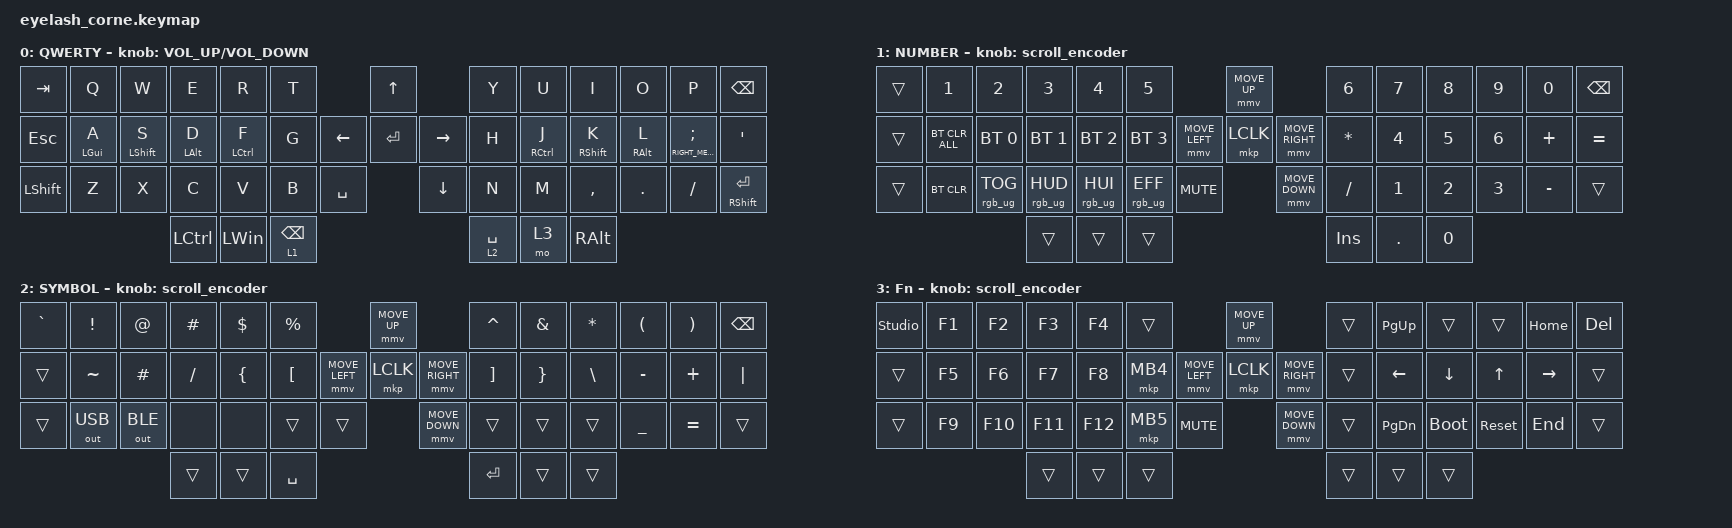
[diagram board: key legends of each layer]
#define ZMK_POINTING_DEFAULT_MOVE_VAL 1200  // 600
#define ZMK_POINTING_DEFAULT_SCRL_VAL 25   // 10

#include <input/processors.dtsi>
#include <zephyr/dt-bindings/input/input-event-codes.h>
#include <behaviors.dtsi>
#include <dt-bindings/zmk/bt.h>
#include <dt-bindings/zmk/keys.h>
#include <dt-bindings/zmk/outputs.h>
#include <dt-bindings/zmk/pointing.h>
#include <dt-bindings/zmk/rgb.h>

&mmv_input_listener { input-processors = <&zip_xy_scaler 2 1>; };

&msc_input_listener { input-processors = <&zip_scroll_scaler 2 1>; };

&msc {
    acceleration-exponent = <1>;      // 0
    time-to-max-speed-ms = <100>;       // 300
    delay-ms = <0>;                   // 0
};

&mmv {
    time-to-max-speed-ms = <500>;
    acceleration-exponent = <1>;
    trigger-period-ms = <16>;
};

/ {
    behaviors {
        td0: td0 {
            compatible = "zmk,behavior-tap-dance";
            display-name = "Shift/Caps Lock Tap Dance";
            #binding-cells = <0>;
            bindings = <&kp LEFT_SHIFT>, <&kp CAPS>;
        };
    };

    rgb_encoder: rgb_encoder {
        compatible = "zmk,behavior-sensor-rotate";
        #sensor-binding-cells = <0>;
        bindings = <&rgb_ug RGB_BRI>, <&rgb_ug RGB_BRD>;
    };

    scroll_encoder: scroll_encoder {
        compatible = "zmk,behavior-sensor-rotate";
        #sensor-binding-cells = <0>;
        bindings = <&msc SCRL_DOWN>, <&msc SCRL_UP>;

        tap-ms = <100>;
    };

    keymap {
        compatible = "zmk,keymap";

        default_layer {
            display-name = "QWERTY";
            bindings = <
&kp TAB     &kp Q           &kp W             &kp E       &kp R               &kp T                                   &kp UP                &kp Y        &kp U                &kp I        &kp O       &kp P                &kp BSPC
&kp ESCAPE  &mt LEFT_GUI A  &mt LEFT_SHIFT S  &mt LALT D  &mt LEFT_CONTROL F  &kp G                         &kp LEFT  &kp ENTER  &kp RIGHT  &kp H        &mt RIGHT_CONTROL J  &mt RSHFT K  &mt RALT L  &mt RIGHT_META SEMI  &kp SQT
&kp LSHIFT  &kp Z           &kp X             &kp C       &kp V               &kp B            &kp SPACE              &kp DOWN              &kp N        &kp M                &kp COMMA    &kp DOT     &kp FSLH             &mt RIGHT_SHIFT ENTER
                                              &kp LCTRL   &kp LWIN            &lt 1 BACKSPACE                                               &lt 2 SPACE  &mo 3                &kp RALT
            >;

            sensor-bindings = <&inc_dec_kp C_VOLUME_UP C_VOLUME_DOWN>;
        };

        lower_layer {
            display-name = "NUMBER";
            bindings = <
&trans  &kp N1          &kp N2           &kp N3           &kp N4           &kp N5                                         &mmv MOVE_UP                     &kp N6        &kp N7        &kp N8        &kp N9        &kp N0     &kp BSPC
&trans  &bt BT_CLR_ALL  &bt BT_SEL 0     &bt BT_SEL 1     &bt BT_SEL 2     &bt BT_SEL 3                   &mmv MOVE_LEFT  &mkp LCLK       &mmv MOVE_RIGHT  &kp ASTERISK  &kp NUMBER_4  &kp N5        &kp NUMBER_6  &kp PLUS   &kp EQUAL
&trans  &bt BT_CLR      &rgb_ug RGB_TOG  &rgb_ug RGB_HUD  &rgb_ug RGB_HUI  &rgb_ug RGB_EFF  &kp C_MUTE                    &mmv MOVE_DOWN                   &kp SLASH     &kp NUMBER_1  &kp NUMBER_2  &kp NUMBER_3  &kp MINUS  &trans
                                         &trans           &trans           &trans                                                                          &kp INS       &kp PERIOD    &kp N0
            >;

            sensor-bindings = <&scroll_encoder>;
        };

        raise_layer {
            display-name = "SYMBOL";
            bindings = <
&kp GRAVE  &kp EXCL      &kp AT        &kp HASH   &kp DLLR        &kp PRCNT                                   &mmv MOVE_UP                     &kp CARET          &kp AMPS         &kp ASTRK      &kp LPAR   &kp RPAR   &kp BSPC
&trans     &kp TILDE     &kp HASH      &kp SLASH  &kp LEFT_BRACE  &kp LEFT_BRACKET            &mmv MOVE_LEFT  &mkp LCLK       &mmv MOVE_RIGHT  &kp RIGHT_BRACKET  &kp RIGHT_BRACE  &kp BACKSLASH  &kp MINUS  &kp PLUS   &kp PIPE
&trans     &out OUT_USB  &out OUT_BLE  &none      &none           &trans            &trans                    &mmv MOVE_DOWN                   &trans             &trans           &trans         &kp UNDER  &kp EQUAL  &trans
                                       &trans     &trans          &kp SPACE                                                                    &kp RET            &trans           &trans
            >;

            sensor-bindings = <&scroll_encoder>;
        };

        layer_3 {
            display-name = "Fn";
            bindings = <
&studio_unlock  &kp F1  &kp F2   &kp F3   &kp F4   &trans                                  &mmv MOVE_UP                     &trans  &kp PAGE_UP     &trans          &trans        &kp HOME         &kp DELETE
&trans          &kp F5  &kp F6   &kp F7   &kp F8   &mkp MB4                &mmv MOVE_LEFT  &mkp LCLK       &mmv MOVE_RIGHT  &trans  &kp LEFT_ARROW  &kp DOWN_ARROW  &kp UP_ARROW  &kp RIGHT_ARROW  &trans
&trans          &kp F9  &kp F10  &kp F11  &kp F12  &mkp MB5  &kp C_MUTE                    &mmv MOVE_DOWN                   &trans  &kp PAGE_DOWN   &bootloader     &sys_reset    &kp END          &trans
                                 &trans   &trans   &trans                                                                   &trans  &trans          &trans
            >;

            sensor-bindings = <&scroll_encoder>;
        };
    };
};
